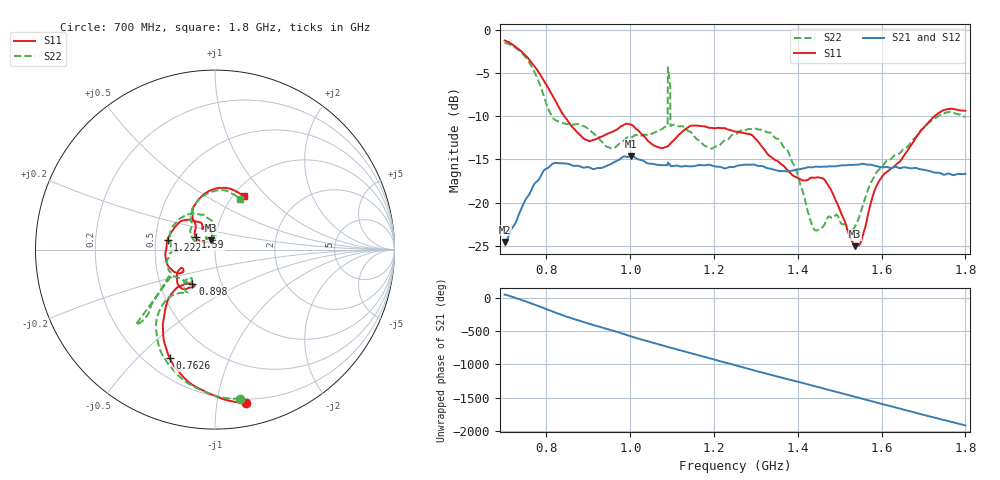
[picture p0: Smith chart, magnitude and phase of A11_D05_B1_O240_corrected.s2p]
! Created with skrf 1.9.0 (http://scikit-rf.org).
# Hz S RI R 50.0
!freq ReS11 ImS11 ReS21 ImS21 ReS12 ImS12 ReS22 ImS22
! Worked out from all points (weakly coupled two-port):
!   1601 points, 700 MHz to 1.8 GHz, reference 50 ohm
!   highest |S21| = -14.61 dB at 1.002 GHz (marker M1); lowest = -24.6 dB at 700 MHz (marker M2)
!   lowest |S11| = -25.1 dB at 1.537 GHz (marker M3), VSWR 1.12, Z = 47.5 + j4.83 ohm
!   |S11| at or under -10 dB: 842.3 MHz to 1.726 GHz (884 MHz wide, 68.8 % of centre)
!   |S22| runs from -23.6 to -1.5 dB; largest |S21 - S12| = 0.0035
!   S11 on the Smith chart (normalised r, x): 700 MHz: 0.17, -1.21; 762.6 MHz: 0.30, -0.62; 898 MHz: 0.73, -0.29; 1.222 GHz: 0.58, +0.07; 1.59 GHz: 0.80, +0.11; 1.8 GHz: 1.12, +0.76
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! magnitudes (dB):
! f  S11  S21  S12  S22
! 700 MHz  -1.2  -24.6  -24.3  -1.5
! 762.6 MHz  -3.7  -18.7  -18.7  -4.1
! 816.2 MHz  -7.8  -15.5  -15.6  -10.2
! 883.6 MHz  -12.3  -15.9  -15.8  -11.1
! 898 MHz  -12.8  -15.9  -16.0  -11.4
! 953.7 MHz  -11.9  -15.5  -15.5  -13.7
! 1.002 GHz  -11.0  -14.6  -14.7  -12.4
! 1.067 GHz  -13.6  -15.6  -15.6  -11.7
! 1.084 GHz  -13.6  -15.7  -15.7  -11.2
! 1.095 GHz  -13.2  -15.7  -15.7  -6.5
! 1.101 GHz  -12.9  -15.8  -15.7  -11.0
! 1.222 GHz  -11.4  -16.0  -16.0  -12.9
! 1.25 GHz  -11.8  -15.8  -15.8  -12.1
! 1.357 GHz  -15.4  -16.4  -16.3  -12.8
! 1.395 GHz  -17.0  -16.2  -16.2  -16.1
! 1.434 GHz  -17.1  -15.9  -15.9  -22.6
! 1.471 GHz  -17.9  -15.8  -15.8  -21.8
! 1.537 GHz  -25.1  -15.6  -15.6  -22.8
! 1.59 GHz  -17.8  -15.8  -15.8  -16.4
! 1.617 GHz  -16.3  -15.9  -15.9  -15.1
! 1.732 GHz  -9.8  -16.5  -16.6  -10.1
! 1.8 GHz  -9.4  -16.7  -16.7  -10.1
